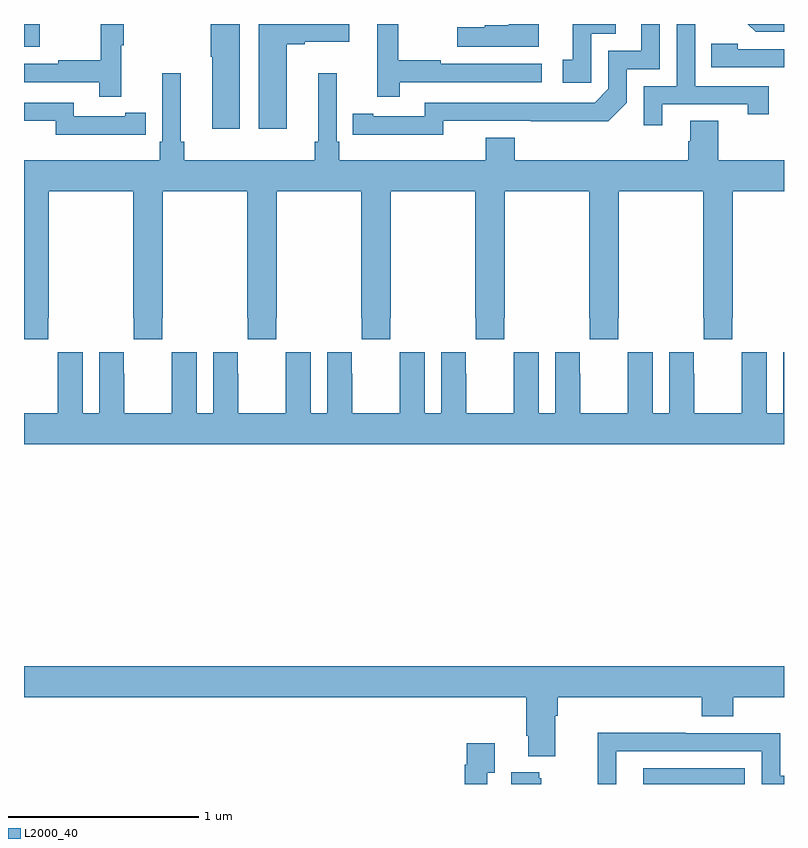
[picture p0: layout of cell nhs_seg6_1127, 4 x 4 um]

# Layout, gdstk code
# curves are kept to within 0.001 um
import gdstk
lib = gdstk.Library(unit=1e-6, precision=1e-09)
def R(c, l, rs):  # rectangles x0, y0, x1, y1
    for r in rs: c.add(gdstk.rectangle(r[:2], r[2:], *l))
def P(c, l, *ps):  # polygons
    for p in ps: c.add(gdstk.Polygon(p, *l))
L2000_40 = (2000, 40)

nhs_seg6_1127 = lib.new_cell('nhs_seg6_1127')
R(nhs_seg6_1127, L2000_40, [(182.259,993.5,182.793,993.582), (179,997.379,179.083,997.5)])
P(nhs_seg6_1127, L2000_40, [(180.136,997.5),(179.983,997.5),(179.983,997.327),(179.99,997.327),(179.99,996.948),(180.136,996.948)],
  [(181.206,996.99),(182.074,996.989),(182.172,997.086),(182.172,997.263),(182.346,997.263),(182.346,997.5),(182.249,997.5),(182.249,997.359),(182.076,997.359),(182.076,997.158),(182.004,997.086),(181.11,997.086),(181.11,997.014),(180.838,997.014),(180.838,997.027),(180.73,997.027),(180.73,996.918),(181.206,996.917)],
  [(180.977,997.194),(181.726,997.194),(181.726,997.29),(181.193,997.29),(181.193,997.31),(180.97,997.31),(180.97,997.5),(180.86,997.5),(180.86,997.116),(180.977,997.116)],
  [(179.513,997.387),(179.524,997.387),(179.524,997.5),(179.403,997.5),(179.403,997.31),(179.179,997.31),(179.179,997.29),(179,997.29),(179,997.194),(179.395,997.194),(179.395,997.116),(179.513,997.116)],
  [(180.382,997.394),(180.478,997.394),(180.478,997.406),(180.712,997.406),(180.712,997.5),(180.236,997.5),(180.236,996.948),(180.382,996.948)],
  [(181.708,997.5),(181.55,997.5),(181.55,997.493),(181.424,997.493),(181.424,997.483),(181.281,997.483),(181.281,997.379),(181.708,997.379)],
  [(181.986,997.449),(182.115,997.449),(182.115,997.5),(181.889,997.5),(181.889,997.311),(181.836,997.311),(181.836,997.191),(181.986,997.191)],
  [(183,997.5),(182.808,997.5),(182.85,997.458),(183,997.458)],
  [(182.359,997.077),(182.81,997.077),(182.81,997.026),(182.921,997.026),(182.921,997.173),(182.532,997.173),(182.532,997.5),(182.436,997.5),(182.436,997.173),(182.262,997.173),(182.262,996.966),(182.359,996.966)],
  [(183,997.368),(182.757,997.368),(182.757,997.395),(182.617,997.395),(182.617,997.272),(183,997.272)],
  [(179.127,995.953),(179.13,995.953),(179.13,996.62),(179.575,996.62),(179.575,995.953),(179.577,995.953),(179.577,995.841),(179.727,995.841),(179.727,995.953),(179.73,995.953),(179.73,996.62),(180.175,996.62),(180.175,995.953),(180.177,995.953),(180.177,995.841),(180.327,995.841),(180.327,995.953),(180.33,995.953),(180.33,996.62),(180.775,996.62),(180.775,995.953),(180.777,995.953),(180.777,995.841),(180.927,995.841),(180.927,995.953),(180.93,995.953),(180.93,996.62),(181.375,996.62),(181.375,995.953),(181.377,995.953),(181.377,995.841),(181.527,995.841),(181.527,995.953),(181.53,995.953),(181.53,996.62),(181.975,996.62),(181.975,995.953),(181.977,995.953),(181.977,995.841),(182.127,995.841),(182.127,995.953),(182.13,995.953),(182.13,996.62),(182.575,996.62),(182.575,995.953),(182.577,995.953),(182.577,995.841),(182.727,995.841),(182.727,995.953),(182.73,995.953),(182.73,996.62),(183,996.62),(183,996.784),(182.655,996.784),(182.655,996.992),(182.507,996.992),(182.507,996.882),(182.495,996.882),(182.495,996.784),(181.583,996.784),(181.583,996.901),(181.43,996.901),(181.43,996.784),(180.659,996.784),(180.659,996.88),(180.645,996.88),(180.645,997.24),(180.548,997.24),(180.548,996.88),(180.529,996.88),(180.529,996.784),(179.843,996.784),(179.843,996.88),(179.824,996.88),(179.824,997.24),(179.727,997.24),(179.727,996.88),(179.714,996.88),(179.714,996.784),(179,996.784),(179,995.841),(179.127,995.841)],
  [(179.534,996.918),(179.642,996.918),(179.642,997.034),(179.534,997.034),(179.534,997.014),(179.262,997.014),(179.262,997.086),(179,997.086),(179,996.99),(179.166,996.99),(179.166,996.917),(179.534,996.917)],
  [(183,995.773),(182.996,995.773),(182.996,995.452),(182.908,995.452),(182.908,995.773),(182.778,995.773),(182.778,995.66),(182.777,995.66),(182.777,995.452),(182.527,995.452),(182.527,995.66),(182.526,995.66),(182.526,995.773),(182.396,995.773),(182.396,995.452),(182.308,995.452),(182.308,995.773),(182.178,995.773),(182.178,995.66),(182.177,995.66),(182.177,995.452),(181.927,995.452),(181.927,995.66),(181.926,995.66),(181.926,995.773),(181.796,995.773),(181.796,995.452),(181.708,995.452),(181.708,995.773),(181.578,995.773),(181.578,995.66),(181.577,995.66),(181.577,995.452),(181.327,995.452),(181.327,995.66),(181.326,995.66),(181.326,995.773),(181.196,995.773),(181.196,995.452),(181.108,995.452),(181.108,995.773),(180.978,995.773),(180.978,995.66),(180.977,995.66),(180.977,995.452),(180.727,995.452),(180.727,995.66),(180.726,995.66),(180.726,995.773),(180.596,995.773),(180.596,995.452),(180.508,995.452),(180.508,995.773),(180.378,995.773),(180.378,995.66),(180.377,995.66),(180.377,995.452),(180.127,995.452),(180.127,995.66),(180.126,995.66),(180.126,995.773),(179.996,995.773),(179.996,995.452),(179.908,995.452),(179.908,995.773),(179.778,995.773),(179.778,995.66),(179.777,995.66),(179.777,995.452),(179.527,995.452),(179.527,995.66),(179.526,995.66),(179.526,995.773),(179.396,995.773),(179.396,995.452),(179.308,995.452),(179.308,995.773),(179.178,995.773),(179.178,995.66),(179.177,995.66),(179.177,995.452),(179,995.452),(179,995.288),(183,995.288)],
  [(181.795,993.86),(181.808,993.86),(181.808,993.956),(182.567,993.956),(182.567,993.857),(182.732,993.857),(182.732,993.956),(183,993.956),(183,994.12),(179,994.12),(179,993.956),(181.643,993.956),(181.643,993.754),(181.655,993.754),(181.655,993.647),(181.795,993.647)],
  [(182.118,993.672),(182.883,993.672),(182.883,993.5),(183,993.5),(183,993.543),(182.979,993.543),(182.979,993.768),(182.483,993.768),(182.483,993.77),(182.02,993.77),(182.02,993.5),(182.118,993.5)],
  [(181.437,993.559),(181.477,993.559),(181.477,993.715),(181.329,993.715),(181.329,993.602),(181.321,993.602),(181.321,993.5),(181.437,993.5)],
  [(181.723,993.531),(181.712,993.531),(181.712,993.562),(181.565,993.562),(181.565,993.5),(181.723,993.5)])

lib.write_gds('nhs_seg6_1127.gds')
